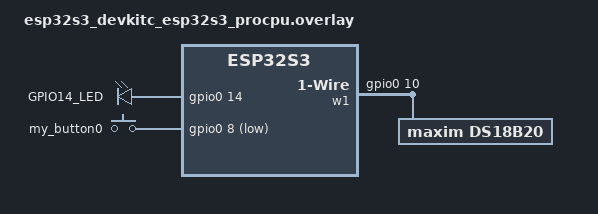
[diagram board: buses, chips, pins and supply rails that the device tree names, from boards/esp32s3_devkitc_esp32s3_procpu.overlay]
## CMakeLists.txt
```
cmake_minimum_required(VERSION 3.20.0)

find_package(Zephyr REQUIRED HINTS $ENV{ZEPHYR_BASE})
project(zephyr_rtos_playground)

target_sources(app PRIVATE src/main.cpp)

target_compile_options(app PRIVATE -std=c++17)
```

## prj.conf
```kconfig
CONFIG_CPP=y
CONFIG_NEWLIB_LIBC=y

CONFIG_SERIAL=y
CONFIG_CONSOLE=y
CONFIG_UART_CONSOLE=y
CONFIG_PRINTK=y


CONFIG_MAIN_STACK_SIZE=4096
CONFIG_IDLE_STACK_SIZE=1024

CONFIG_GPIO=y

#DS18B20 Temperature sensor
CONFIG_W1=y
CONFIG_SENSOR=y
CONFIG_DS18B20=y
```

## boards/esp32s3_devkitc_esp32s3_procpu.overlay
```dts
/ {
    aliases {
        led0 = &my_led0;
        sw0 = &my_button0;
    };

    leds {
        compatible = "gpio-leds";
        my_led0: led_0 {
            gpios = <&gpio0 14 GPIO_ACTIVE_HIGH>;
            label = "GPIO14_LED";
        };
    };

    buttons {
        compatible = "gpio-keys";
        my_button0: button_0 {
            gpios = <&gpio0 8 (GPIO_PULL_UP | GPIO_ACTIVE_LOW)>;
        };
    };

    w1: onewire {
        compatible ="zephyr,w1-gpio";
        gpios = <&gpio0 10 (GPIO_PULL_UP | GPIO_OPEN_DRAIN)>; /* DQ on GPIO10 */
        status = "okay";
    };
};

&w1 {
    ds18b20: ds18b20 {
        compatible = "maxim,ds18b20";
        status = "okay";
        resolution = <12>;
    };
};
```

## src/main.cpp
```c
//esp32 build cmd: west build -b esp32s3_devkitc/esp32s3/procpu -p always
#include <zephyr/kernel.h>
#include <zephyr/drivers/gpio.h>
#include <zephyr/sys/printk.h>
#include <inttypes.h>
#include <zephyr/device.h>
#include <zephyr/drivers/sensor.h>


#define LED_NODE DT_ALIAS(led0)
#define SW0_NODE DT_ALIAS(sw0)

static const struct gpio_dt_spec led = GPIO_DT_SPEC_GET(LED_NODE, gpios);
static const struct gpio_dt_spec sw0 = GPIO_DT_SPEC_GET(SW0_NODE, gpios);

static const struct device *get_ds18b20_device(void)
{
    const struct device *dev = DEVICE_DT_GET_ANY(maxim_ds18b20);

    if (dev == NULL) {
        printk("Error: no DS18B20 node found (status okay?)\n");
        return NULL;
    }
    if (!device_is_ready(dev)) {
        printk("Error: DS18B20 device not ready: %s\n", dev->name);
        return NULL;
    }
    return dev;
}

static struct gpio_callback btn_cb;
static volatile bool paused;

static void button_pressed_isr(const struct device *dev, struct gpio_callback *cb, uint32_t pins) {
    paused = !paused;
    printk("Button pressed at %" PRIu32 "\n", k_cycle_get_32());
}

int main() {

    int ret;
    bool led_state = true;
    const struct device *ds = get_ds18b20_device();


    if (!gpio_is_ready_dt(&sw0)){
        return 0;
    }
    if (!gpio_is_ready_dt(&led)){
        return 0;
    }
    
    ret = gpio_pin_configure_dt(&sw0, GPIO_INPUT);
	if (ret < 0) {
		return 0;
	}
	ret = gpio_pin_configure_dt(&led, GPIO_OUTPUT_ACTIVE);
	if (ret < 0) {
		return 0;
	}

    //configure interrupt
    gpio_pin_interrupt_configure_dt(&sw0, GPIO_INT_EDGE_TO_ACTIVE);

    //add callback
    gpio_init_callback(&btn_cb, button_pressed_isr, BIT(sw0.pin));
    gpio_add_callback(sw0.port, &btn_cb);

    // print onces in boot
    printk("--- SYSTEM BOOTING ---\n");

    while (true) {
        printk("Hello\n");

		if(!paused) gpio_pin_toggle_dt(&led);

		led_state = !led_state;
		printk("LED state: %s\n", led_state ? "ON" : "OFF");
		k_msleep(1000);


       if (ds) {
            if (sensor_sample_fetch(ds) == 0) {
                struct sensor_value t;
                int res = sensor_sample_fetch(ds);
                if (res == 0) {
                    printk("Temp: %d.%06d C\n", t.val1, t.val2);
                } else {
                    printk("Temp read failed (channel_get)\n");
                }
            } else {
                printk("Temp read failed (sample_fetch)\n");
            }
        }

    }
    return 0;
}
```
